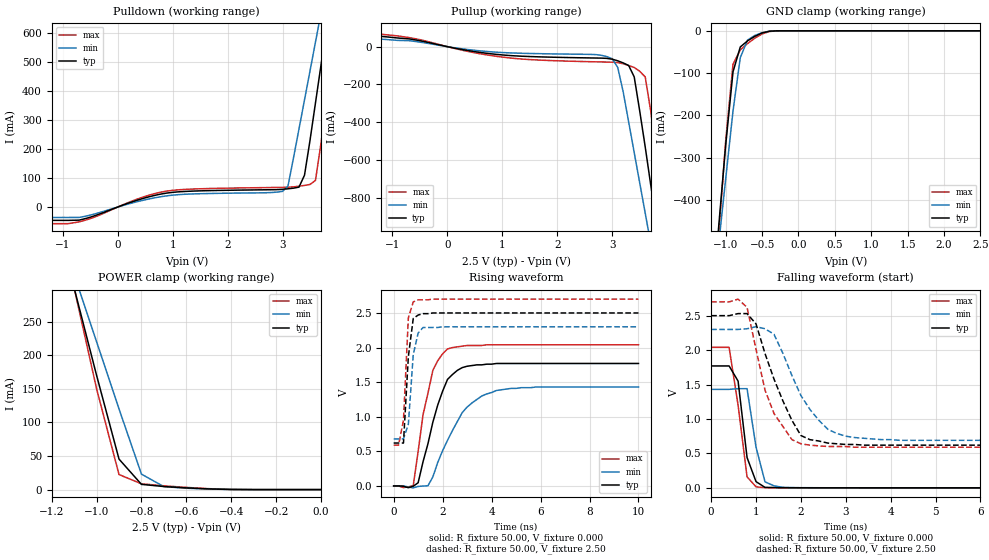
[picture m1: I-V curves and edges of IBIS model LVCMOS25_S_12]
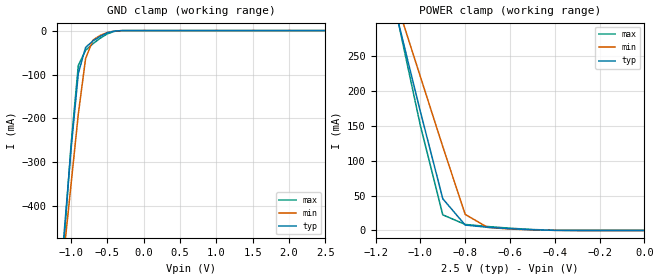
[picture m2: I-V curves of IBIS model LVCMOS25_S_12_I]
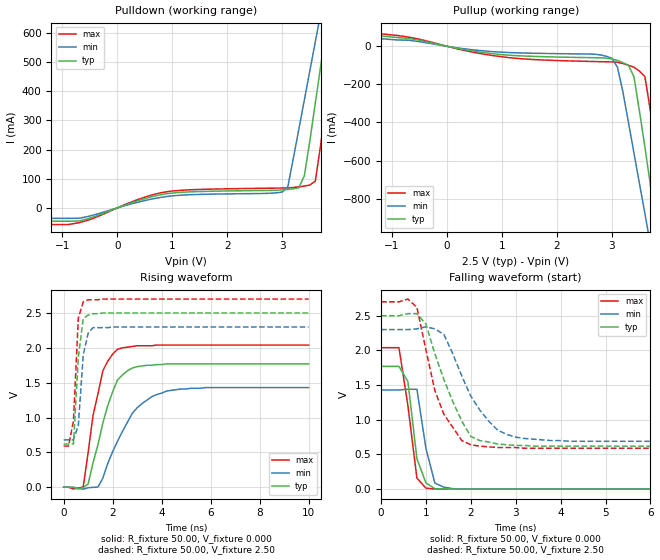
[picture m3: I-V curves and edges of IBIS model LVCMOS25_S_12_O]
| / 7\'7
| \ \   Xilinx Inc.
| / /
| \_\/.\   IBIS Models for Spartan-3E
[IBIS ver]   3.2
[File name]   top_level.ibs
[File Rev]   1.5
[Date]   Sat Sep  5 17:44:04 2020
[Source]   HSPICE simulations
[Notes]   IBIS models for Spartan-3E
[Disclaimer]
|   The data in this model is derived from SPICE simulations using
|   modeling information extracted from the target process. While
|   a great deal of care has been taken to provide information
|   that is accurate, this model is considered preliminary as it
|   has not been verified by actual silicon measurement. Treat the
|   data in this model as preliminary until actual silicon
|   verification is performed.
|   To accurately model package parasitics, please follow the
|   instructions at:  http://www.xilinx.com/xlnx/
|   xil_ans_display.jsp?getPagePath=11754
|   LVDS and LVPECL drivers require the use of external
|   termination resistors to provide the correct voltage levels.
|   For more information, refer to the Spartan-3 documentation.
|   NOTE: This file is compliant with IBIS Version 3.2, but it
|   may not implement all approved 3.2 features.
|   NOTE:  Newer versions of the buffer models may be available.
|   Check the web (http://www.xilinx.com/support/sw_ibis.htm) for
|   the latest file revision.  However, please be aware that the
|   web files are not compatible for use with IBISWriter, and
|   must be manually annotated, should their use be preferred.
[Copyright]
| Copyright 2006, Xilinx Inc., All rights reserved
|   Component Spartan-3E
[Component]   Spartan-3E
[Manufacturer]   Xilinx Inc.
[Package]
| For Package Type pq208
| variable   typ   min   max
R_pkg   214.83m   206.0m   226.0m
L_pkg   15.6nH   13.2nH   18.3nH
C_pkg   2.0pF   1.7pF   2.3pF
[Pin]  signal_name   model_name   R_pin   L_pin   C_pin
P96   red_out_tl<0>   LVCMOS25_S_12_O
P98   red_out_tl<1>   LVCMOS25_S_12_O
P100   red_out_tl<2>   LVCMOS25_S_12_O
P106   grn_out_tl<0>   LVCMOS25_S_12_O
P108   grn_out_tl<1>   LVCMOS25_S_12_O
P102   grn_out_tl<2>   LVCMOS25_S_12_O
P68   led_tl<0>   LVCMOS25_S_12_O
P78   led_tl<1>   LVCMOS25_S_12_O
P83   led_tl<2>   LVCMOS25_S_12_O
P89   led_tl<3>   LVCMOS25_S_12_O
P115   hs_tl   LVCMOS25_S_12_O
P75   rx_tl   LVCMOS25_S_12_I
P113   vs_tl   LVCMOS25_S_12_O
P76   tx_tl   LVCMOS25_S_12_O
P145   led_select_tl<0>   LVCMOS25_S_12_O
P147   led_select_tl<1>   LVCMOS25_S_12_O
P151   led_select_tl<2>   LVCMOS25_S_12_O
P153   led_select_tl<3>   LVCMOS25_S_12_O
P184   clk_tl   LVCMOS25_S_12_I
P160   led_out_tl<0>   LVCMOS25_S_12_O
P152   led_out_tl<1>   LVCMOS25_S_12_O
P150   led_out_tl<2>   LVCMOS25_S_12_O
P146   led_out_tl<3>   LVCMOS25_S_12_O
P144   led_out_tl<4>   LVCMOS25_S_12_O
P139   led_out_tl<5>   LVCMOS25_S_12_O
P137   led_out_tl<6>   LVCMOS25_S_12_O
P134   led_out_tl<7>   LVCMOS25_S_12_O
P129   rst_tl   LVCMOS25_S_12_I
P94   blu_out_tl<0>   LVCMOS25_S_12_O
P97   blu_out_tl<1>   LVCMOS25_S_12_O
P1   PROG_B   LVCMOS25_S_12
P2   IO_L01P_3   NC
P3   IO_L01N_3   NC
P4   IO_L02P_3   NC
P5   IO_L02N_3/VREF_3   NC
P6   IP   NC
P7   VCCAUX   POWER
P8   IO_L03P_3   NC
P9   IO_L03N_3   NC
P10   GND   GND
P11   IO_L04P_3   NC
P12   IO_L04N_3   NC
P13   VCCINT   POWER
P14   IP   NC
P15   IO_L05P_3   NC
P16   IO_L05N_3   NC
P17   GND   GND
P18   IO_L06P_3   NC
P19   IO_L06N_3   NC
P20   IP/VREF_3   NC
P21   VCCO_3   POWER
P22   LHCLK0   NC
P23   LHCLK1   NC
P24   LHCLK2   NC
P25   LHCLK3/IRDY2   NC
P26   IP   NC
P27   GND   GND
P28   LHCLK4/TRDY2   NC
P29   LHCLK5   NC
P30   LHCLK6   NC
P31   LHCLK7   NC
P32   IP   NC
P33   IO_L11P_3   NC
P34   IO_L11N_3   NC
P35   IO_L12P_3   NC
P36   IO_L12N_3   NC
P37   GND   GND
P38   VCCO_3   POWER
P39   IO_L13P_3   NC
P40   IO_L13N_3   NC
P41   IO_L14P_3   NC
P42   IO_L14N_3   NC
P43   IP   NC
P44   VCCAUX   POWER
P45   IO/VREF_3   NC
P46   VCCO_3   POWER
P47   IO_L15P_3   NC
P48   IO_L15N_3   NC
P49   IO_L16P_3   NC
P50   IO_L16N_3   NC
P51   IP   NC
P52   GND   GND
P53   GND   GND
P54   IP   NC
P55   CSO_B   LVCMOS25_S_12
P56   INIT_B   LVCMOS25_S_12
P57   IP_L02P_2   NC
P58   IP_L02N_2   NC
P59   VCCO_2   POWER
P60   DOUT/BUSY   NC
P61   MOSI/CSI_B   LVCMOS25_S_12
P62   IO_L04P_2   NC
P63   IO_L04N_2   NC
P64   IO_L05P_2   NC
P65   IO_L05N_2   NC
P66   VCCAUX   POWER
P67   VCCINT   POWER
P69   IO_L06N_2   NC
P70   GND   GND
P71   IP_L07P_2   NC
P72   IP_L07N_2/VREF_2   NC
P73   VCCO_2   POWER
P74   D7/GCLK12   LVCMOS25_S_12
P77   D4/GCLK14   LVCMOS25_S_12
P79   GND   GND
P80   RDWR_B/GCLK0   LVCMOS25_S_12
P81   M2/GCLK1   LVCMOS25_S_12
P82   D2/GCLK2   LVCMOS25_S_12
P84   M1   LVCMOS25_S_12
P85   GND   GND
P86   M0   LVCMOS25_S_12
P87   DIN/D0   LVCMOS25_S_12
P88   VCCO_2   POWER
P90   IO_L13N_2   NC
P91   IP   NC
P92   VCCAUX   POWER
P93   A23   LVCMOS25_S_12
P95   GND   GND
P99   VS2/A19   NC
P101   IP   NC
P103   CCLK   LVCMOS25_S_12
P104   DONE   LVCMOS25_S_12
P105   GND   GND
P107   A15   LVCMOS25_S_12
P109   A13   LVCMOS25_S_12
P110   IP   NC
P111   VCCAUX   POWER
P112   IO_L03P_1   NC
P114   VCCO_1   POWER
P116   IO_L04N_1   NC
P117   VCCINT   POWER
P118   IP   NC
P119   A12   LVCMOS25_S_12
P120   A11   LVCMOS25_S_12
P121   GND   GND
P122   IO_L06P_1   NC
P123   IO_L06N_1/VREF_1   NC
P124   IP   NC
P125   VCCO_1   POWER
P126   A10/RHCLK0   LVCMOS25_S_12
P127   A9/RHCLK1   LVCMOS25_S_12
P128   A8/RHCLK2   LVCMOS25_S_12
P130   IP   NC
P131   GND   GND
P132   A6/RHCLK4/IRDY1   LVCMOS25_S_12
P133   A5/RHCLK5   LVCMOS25_S_12
P135   A3/RHCLK7   LVCMOS25_S_12
P136   IP/VREF_1   NC
P138   A1   LVCMOS25_S_12
P140   A0   LVCMOS25_S_12
P141   GND   GND
P142   IP   NC
P143   VCCO_1   POWER
P148   IP   NC
P149   VCCAUX   POWER
P154   IP   NC
P155   TMS   LVCMOS25_S_12
P156   GND   GND
P157   TDO   LVCMOS25_S_12
P158   TCK   LVCMOS25_S_12
P159   IP   NC
P161   IO_L01N_0   NC
P162   IO_L02P_0   NC
P163   IO_L02N_0/VREF_0   NC
P164   IO_L03P_0   NC
P165   IO_L03N_0   NC
P166   VCCAUX   POWER
P167   IO_L04P_0   NC
P168   IO_L04N_0/VREF_0   NC
P169   IP   NC
P170   VCCINT   POWER
P171   IO_L05P_0   NC
P172   IO_L05N_0   NC
P173   GND   GND
P174   IP_L06P_0   NC
P175   IP_L06N_0   NC
P176   VCCO_0   POWER
P177   GCLK4   NC
P178   GCLK5   NC
P179   IO/VREF_0   NC
P180   GCLK6   NC
P181   GCLK7   NC
P182   GND   GND
P183   GCLK8   NC
P185   GCLK10   NC
P186   GCLK11   NC
P187   IO   NC
P188   GND   GND
P189   IO_L11P_0   NC
P190   IO_L11N_0   NC
P191   VCCO_0   POWER
P192   IO_L12P_0   NC
P193   IO_L12N_0/VREF_0   NC
P194   IP   NC
P195   VCCAUX   POWER
P196   IO_L13P_0   NC
P197   IO_L13N_0   NC
P198   GND   GND
P199   IO_L14P_0   NC
P200   IO_L14N_0/VREF_0   NC
P201   VCCO_0   POWER
P202   IO_L15P_0   NC
P203   IO_L15N_0   NC
P204   IP   NC
P205   IO_L16P_0   NC
P206   HSWAP   LVCMOS25_S_12
P207   TDI   LVCMOS25_S_12
P208   GND   GND
| Models and submodels in the file (3): LVCMOS25_S_12 (I/O), LVCMOS25_S_12_I (Input), LVCMOS25_S_12_O (Output)
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|   Model LVCMOS25_S_12
[Model]   LVCMOS25_S_12
Model_type   I/O
Polarity   Non-Inverting
Enable   Active-Low
Vinl =   0.70V
Vinh =   1.70V
Vmeas =   1.25V
Cref =  0.000F
Rref =  1MOhm
Vref =  0.000V
C_comp   1.50pF   1.30pF   1.70pF
[Temperature Range]   25.00   85.00   0.000
[Voltage Range]   2.50V   2.30V   2.70V
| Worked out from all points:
|   slope of the pulldown table from 0 to 0.375 V, typ, clamps not added: 15.1 ohm
|   slope of the pullup table from 0 to 0.375 V, typ, clamps not added: 18.1 ohm
|   GND clamp passes 1 mA (typ) near -0.40 V on its own axis
|   POWER clamp passes 1 mA (typ) near -0.50 V on its own axis
|   rising waveform, R_fixture 50.00, V_fixture 0.000: 20-80 % time 851ps typ, 1.26ns min, 614ps max; typ from 0 V to 1.77 V
|   rising waveform, R_fixture 50.00, V_fixture 2.50: 20-80 % time 232ps typ, 226ps min, 171ps max; typ from 0.62 V to 2.5 V
|   falling waveform, R_fixture 50.00, V_fixture 0.000: 20-80 % time 225ps typ, 251ps min, 255ps max; typ from 1.77 V to 0 V
|   falling waveform, R_fixture 50.00, V_fixture 2.50: 20-80 % time 670ps typ, 789ps min, 559ps max; typ from 2.5 V to 0.62 V
[Pulldown]
| voltage   I(typ)   I(min)   I(max)
-2.5V     -45.98mA   -35.9mA    -57.32mA
-900mV    -45.98mA   -35.9mA    -57.32mA
900mV     48.52mA    38.96mA    55.38mA
3V        61.37mA    54.24mA    68.01mA
3.1V      63.12mA    73.01mA    68.54mA
3.3V      68.84mA    270mA      72.06mA
3.4V      110mA      370mA      74.78mA
3.5V      230mA      470mA      78.11mA
3.6V      360mA      570mA      92.25mA
3.8V      620mA      770mA      370mA
4V        880mA      970mA      660mA
5V        2.18A      1.98A      2.14A
[Pullup]
| voltage   I(typ)   I(min)   I(max)
-2.5V     72mA       55mA       87mA
-900mV    45.71mA    33.1mA     56.74mA
1.1V      -46.15mA   -32.5mA    -58.58mA
2.8V      -60.59mA   -45.67mA   -80.85mA
3.1V      -74.77mA   -110mA     -84.17mA
3.2V      -85.87mA   -240mA     -90.52mA
3.4V      -160mA     -560mA     -110mA
3.6V      -530mA     -880mA     -160mA
3.7V      -730mA     -1.04A     -340mA
3.8V      -920mA     -1.2A      -580mA
4V        -1.31A     -1.52A     -1.04A
5V        -3.26A     -3.13A     -3.39A
[GND_clamp]
| voltage   I(typ)   I(min)   I(max)
-2.5V     -3.19A     -2.76A     -3.77A
-1.1V     -470mA     -510mA     -490mA
-1V       -270mA     -350mA     -260mA
-900mV    -97.22mA   -190mA     -79.28mA
-800mV    -38.27mA   -63.6mA    -44.92mA
-700mV    -23.77mA   -21.82mA   -30.15mA
-600mV    -13.05mA   -10.93mA   -17.48mA
-500mV    -5.01mA    -4.37mA    -7.42mA
-400mV    -940uA     -990uA     -1.6mA
-300mV    -78.43uA   -120uA     -130uA
2.5V      11.7nA     2.25uA     11.13nA
[POWER_clamp]
| voltage   I(typ)   I(min)   I(max)
-2.5V     2.1A       1.72A      2.35A
-1.1V     300mA      320mA      300mA
-1V       170mA      220mA      150mA
-900mV    45.39mA    120mA      22.39mA
-800mV    7.78mA     23.01mA    8.63mA
-700mV    4.56mA     4.41mA     5.65mA
-600mV    2.55mA     2.06mA     3.26mA
-400mV    200uA      200uA      300uA
0V        11.7nA     65.87nA    13.21nA
[Ramp]
dV/dt_r   1.06/0.80n   0.86/1.33n   1.22/0.56n
dV/dt_f   1.13/0.61n   0.97/0.78n   1.27/0.50n
R_load = 50.00
[Rising Waveform]
R_fixture = 50.00
V_fixture = 0.000
| time   V(typ)   V(min)   V(max)
0s        0V         0V         0V
800ps     -4.14mV    -27.72mV   5.08mV
1ns       46.62mV    -7.11mV    500mV
1.2ns     350mV      -1.57mV    1.03V
1.4ns     610mV      2.59mV     1.34V
1.6ns     920mV      130mV      1.67V
2.2ns     1.54V      660mV      1.98V
3ns       1.73V      1.14V      2.03V
4.2ns     1.77V      1.38V      2.04V
10ns      1.77V      1.43V      2.04V
[Rising Waveform]
R_fixture = 50.00
V_fixture = 2.50
V_fixture_min = 2.30
V_fixture_max = 2.70
| time   V(typ)   V(min)   V(max)
0s        620mV      680mV      590mV
200ps     620mV      680mV      590mV
400ps     620mV      680mV      950mV
600ps     1.87V      890mV      2.43V
800ps     2.42V      1.9V       2.66V
1ns       2.47V      2.21V      2.69V
1.2ns     2.49V      2.29V      2.69V
1.6ns     2.5V       2.29V      2.7V
2ns       2.5V       2.3V       2.7V
10ns      2.5V       2.3V       2.7V
[Falling Waveform]
R_fixture = 50.00
V_fixture = 0.000
| time   V(typ)   V(min)   V(max)
0s        1.77V      1.43V      2.04V
400ps     1.77V      1.43V      2.04V
600ps     1.55V      1.44V      1.2V
800ps     440mV      1.44V      160mV
1ns       90.24mV    590mV      15.1mV
1.2ns     6.64mV     87.43mV    2.58mV
1.4ns     3.92mV     29.03mV    2.66mV
1.6ns     2.4mV      7.15mV     1.89mV
10ns      21.58uV    6.88uV     -670nV
[Falling Waveform]
R_fixture = 50.00
V_fixture = 2.50
V_fixture_min = 2.30
V_fixture_max = 2.70
| time   V(typ)   V(min)   V(max)
0s        2.5V       2.3V       2.7V
600ps     2.53V      2.3V       2.74V
800ps     2.53V      2.31V      2.62V
1ns       2.38V      2.34V      2.01V
1.2ns     1.95V      2.31V      1.42V
1.4ns     1.58V      2.23V      1.08V
2ns       760mV      1.34V      640mV
2.6ns     650mV      850mV      600mV
3.2ns     630mV      730mV      590mV
10ns      620mV      680mV      590mV
|   Model LVCMOS25_S_12_I
[Model]   LVCMOS25_S_12_I
Model_type   Input
Polarity   Non-Inverting
Vinl =   0.70V
Vinh =   1.70V
C_comp   1.50pF   1.30pF   1.70pF
[Temperature Range]   25.00   85.00   0.000
[Voltage Range]   2.50V   2.30V   2.70V
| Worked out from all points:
|   GND clamp passes 1 mA (typ) near -0.40 V on its own axis
|   POWER clamp passes 1 mA (typ) near -0.50 V on its own axis
[GND_clamp]
| voltage   I(typ)   I(min)   I(max)
-2.5V     -3.19A     -2.76A     -3.77A
-1.1V     -470mA     -510mA     -490mA
-1V       -270mA     -350mA     -260mA
-900mV    -97.22mA   -190mA     -79.28mA
-800mV    -38.27mA   -63.6mA    -44.92mA
-700mV    -23.77mA   -21.82mA   -30.15mA
-600mV    -13.05mA   -10.93mA   -17.48mA
-500mV    -5.01mA    -4.37mA    -7.42mA
-400mV    -940uA     -990uA     -1.6mA
-300mV    -78.43uA   -120uA     -130uA
2.5V      11.7nA     2.25uA     11.13nA
[POWER_clamp]
| voltage   I(typ)   I(min)   I(max)
-2.5V     2.1A       1.72A      2.35A
-1.1V     300mA      320mA      300mA
-1V       170mA      220mA      150mA
-900mV    45.39mA    120mA      22.39mA
-800mV    7.78mA     23.01mA    8.63mA
-700mV    4.56mA     4.41mA     5.65mA
-600mV    2.55mA     2.06mA     3.26mA
-400mV    200uA      200uA      300uA
0V        11.7nA     65.87nA    13.21nA
|   Model LVCMOS25_S_12_O
[Model]   LVCMOS25_S_12_O
Model_type   Output
Polarity   Non-Inverting
Enable   Active-Low
Vmeas =   1.25V
Cref =  0.000F
Rref =  1MOhm
Vref =  0.000V
C_comp   1.50pF   1.30pF   1.70pF
[Temperature Range]   25.00   85.00   0.000
[Voltage Range]   2.50V   2.30V   2.70V
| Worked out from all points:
|   slope of the pulldown table from 0 to 0.375 V, typ, clamps not added: 15.1 ohm
|   slope of the pullup table from 0 to 0.375 V, typ, clamps not added: 18.1 ohm
|   rising waveform, R_fixture 50.00, V_fixture 0.000: 20-80 % time 851ps typ, 1.26ns min, 614ps max; typ from 0 V to 1.77 V
|   rising waveform, R_fixture 50.00, V_fixture 2.50: 20-80 % time 232ps typ, 226ps min, 171ps max; typ from 0.62 V to 2.5 V
|   falling waveform, R_fixture 50.00, V_fixture 0.000: 20-80 % time 225ps typ, 251ps min, 255ps max; typ from 1.77 V to 0 V
|   falling waveform, R_fixture 50.00, V_fixture 2.50: 20-80 % time 670ps typ, 789ps min, 559ps max; typ from 2.5 V to 0.62 V
[Pulldown]
| voltage   I(typ)   I(min)   I(max)
-2.5V     -45.98mA   -35.9mA    -57.32mA
-900mV    -45.98mA   -35.9mA    -57.32mA
900mV     48.52mA    38.96mA    55.38mA
3V        61.37mA    54.24mA    68.01mA
3.1V      63.12mA    73.01mA    68.54mA
3.3V      68.84mA    270mA      72.06mA
3.4V      110mA      370mA      74.78mA
3.5V      230mA      470mA      78.11mA
3.6V      360mA      570mA      92.25mA
3.8V      620mA      770mA      370mA
4V        880mA      970mA      660mA
5V        2.18A      1.98A      2.14A
[Pullup]
| voltage   I(typ)   I(min)   I(max)
-2.5V     72mA       55mA       87mA
-900mV    45.71mA    33.1mA     56.74mA
1.1V      -46.15mA   -32.5mA    -58.58mA
2.8V      -60.59mA   -45.67mA   -80.85mA
3.1V      -74.77mA   -110mA     -84.17mA
3.2V      -85.87mA   -240mA     -90.52mA
3.4V      -160mA     -560mA     -110mA
3.6V      -530mA     -880mA     -160mA
3.7V      -730mA     -1.04A     -340mA
3.8V      -920mA     -1.2A      -580mA
4V        -1.31A     -1.52A     -1.04A
5V        -3.26A     -3.13A     -3.39A
[Ramp]
dV/dt_r   1.06/0.80n   0.86/1.33n   1.22/0.56n
dV/dt_f   1.13/0.61n   0.97/0.78n   1.27/0.50n
R_load = 50.00
[Rising Waveform]
R_fixture = 50.00
V_fixture = 0.000
| time   V(typ)   V(min)   V(max)
0s        0V         0V         0V
800ps     -4.14mV    -27.72mV   5.08mV
1ns       46.62mV    -7.11mV    500mV
1.2ns     350mV      -1.57mV    1.03V
1.4ns     610mV      2.59mV     1.34V
1.6ns     920mV      130mV      1.67V
2.2ns     1.54V      660mV      1.98V
3ns       1.73V      1.14V      2.03V
4.2ns     1.77V      1.38V      2.04V
10ns      1.77V      1.43V      2.04V
[Rising Waveform]
R_fixture = 50.00
V_fixture = 2.50
V_fixture_min = 2.30
V_fixture_max = 2.70
| time   V(typ)   V(min)   V(max)
0s        620mV      680mV      590mV
200ps     620mV      680mV      590mV
400ps     620mV      680mV      950mV
600ps     1.87V      890mV      2.43V
800ps     2.42V      1.9V       2.66V
1ns       2.47V      2.21V      2.69V
1.2ns     2.49V      2.29V      2.69V
1.6ns     2.5V       2.29V      2.7V
2ns       2.5V       2.3V       2.7V
10ns      2.5V       2.3V       2.7V
[Falling Waveform]
R_fixture = 50.00
V_fixture = 0.000
| time   V(typ)   V(min)   V(max)
0s        1.77V      1.43V      2.04V
400ps     1.77V      1.43V      2.04V
600ps     1.55V      1.44V      1.2V
800ps     440mV      1.44V      160mV
1ns       90.24mV    590mV      15.1mV
1.2ns     6.64mV     87.43mV    2.58mV
1.4ns     3.92mV     29.03mV    2.66mV
1.6ns     2.4mV      7.15mV     1.89mV
10ns      21.58uV    6.88uV     -670nV
[Falling Waveform]
R_fixture = 50.00
V_fixture = 2.50
V_fixture_min = 2.30
V_fixture_max = 2.70
| time   V(typ)   V(min)   V(max)
0s        2.5V       2.3V       2.7V
600ps     2.53V      2.3V       2.74V
800ps     2.53V      2.31V      2.62V
1ns       2.38V      2.34V      2.01V
1.2ns     1.95V      2.31V      1.42V
1.4ns     1.58V      2.23V      1.08V
2ns       760mV      1.34V      640mV
2.6ns     650mV      850mV      600mV
3.2ns     630mV      730mV      590mV
10ns      620mV      680mV      590mV
